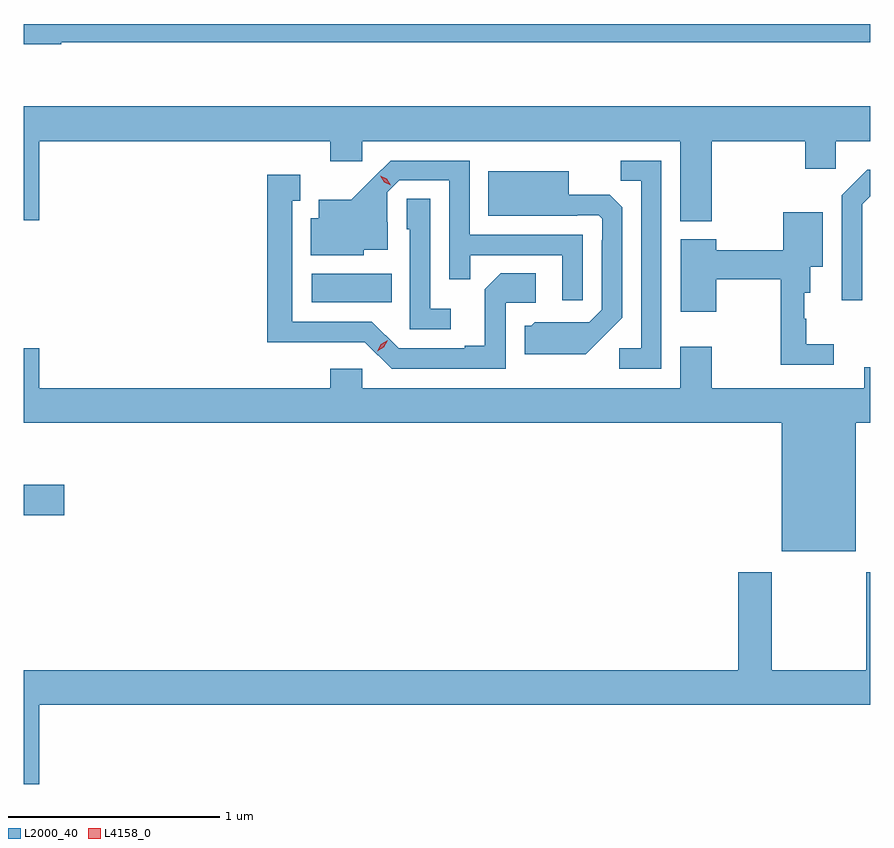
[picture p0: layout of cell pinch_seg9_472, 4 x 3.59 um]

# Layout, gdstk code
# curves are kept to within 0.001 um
import gdstk
lib = gdstk.Library(unit=1e-6, precision=1e-09)
def R(c, l, rs):  # rectangles x0, y0, x1, y1
    for r in rs: c.add(gdstk.rectangle(r[:2], r[2:], *l))
def P(c, l, *ps):  # polygons
    for p in ps: c.add(gdstk.Polygon(p, *l))
L2000_40 = (2000, 40)
L4158_0 = (4158, 0)

pinch_seg9_472 = lib.new_cell('pinch_seg9_472')
R(pinch_seg9_472, L2000_40, [(296.966,1194.653,297.157,1194.795), (298.326,1195.658,298.706,1195.792)])
P(pinch_seg9_472, L2000_40, [(297.144,1196.886),(300.966,1196.886),(300.966,1196.973),(296.966,1196.973),(296.966,1196.878),(297.144,1196.878)],
  [(296.966,1196.046),(297.04,1196.046),(297.04,1196.42),(298.415,1196.42),(298.415,1196.325),(298.566,1196.325),(298.566,1196.42),(300.068,1196.42),(300.068,1196.042),(300.216,1196.042),(300.216,1196.42),(300.658,1196.42),(300.658,1196.289),(300.804,1196.289),(300.804,1196.42),(300.966,1196.42),(300.966,1196.584),(296.966,1196.584)],
  [(299.607,1195.977),(299.073,1195.977),(299.073,1196.328),(298.7,1196.328),(298.513,1196.143),(298.361,1196.143),(298.361,1196.056),(298.322,1196.056),(298.322,1195.88),(298.572,1195.88),(298.572,1195.907),(298.687,1195.907),(298.687,1196.036),(298.683,1196.036),(298.683,1196.178),(298.74,1196.235),(298.977,1196.235),(298.977,1195.768),(299.075,1195.768),(299.075,1195.881),(299.511,1195.881),(299.511,1195.668),(299.607,1195.668)],
  [(299.979,1196.328),(299.788,1196.328),(299.788,1196.233),(299.883,1196.233),(299.883,1195.44),(299.781,1195.44),(299.781,1195.344),(299.979,1195.344)],
  [(300.927,1196.121),(300.966,1196.16),(300.966,1196.284),(300.952,1196.284),(300.831,1196.163),(300.831,1195.668),(300.927,1195.668)],
  [(299.701,1195.493),(299.793,1195.586),(299.793,1196.108),(299.734,1196.167),(299.542,1196.167),(299.542,1196.278),(299.162,1196.278),(299.162,1196.066),(299.582,1196.066),(299.582,1196.07),(299.682,1196.07),(299.7,1196.052),(299.7,1195.952),(299.697,1195.952),(299.697,1195.623),(299.637,1195.563),(299.38,1195.564),(299.364,1195.548),(299.333,1195.548),(299.333,1195.412),(299.621,1195.412)],
  [(299.244,1195.656),(299.386,1195.656),(299.386,1195.796),(299.221,1195.796),(299.145,1195.72),(299.145,1195.453),(299.051,1195.453),(299.051,1195.44),(298.737,1195.44),(298.611,1195.566),(298.234,1195.566),(298.234,1196.139),(298.273,1196.139),(298.273,1196.26),(298.116,1196.26),(298.116,1195.469),(298.578,1195.47),(298.704,1195.344),(299.244,1195.344)],
  [(298.984,1195.627),(298.887,1195.627),(298.887,1196.147),(298.776,1196.147),(298.776,1196.004),(298.791,1196.004),(298.791,1195.53),(298.984,1195.53)],
  [(300.793,1195.461),(300.664,1195.461),(300.664,1195.581),(300.653,1195.581),(300.653,1195.703),(300.682,1195.703),(300.682,1195.826),(300.742,1195.826),(300.742,1196.083),(300.554,1196.083),(300.554,1195.904),(300.238,1195.904),(300.238,1195.957),(300.071,1195.957),(300.071,1195.614),(300.238,1195.614),(300.238,1195.768),(300.543,1195.768),(300.543,1195.362),(300.793,1195.362)],
  [(300.898,1195.088),(300.966,1195.088),(300.966,1195.35),(300.938,1195.35),(300.938,1195.252),(300.216,1195.252),(300.216,1195.447),(300.068,1195.447),(300.068,1195.252),(298.566,1195.252),(298.566,1195.345),(298.415,1195.345),(298.415,1195.252),(297.04,1195.252),(297.04,1195.441),(296.966,1195.441),(296.966,1195.088),(300.548,1195.088),(300.548,1194.482),(300.898,1194.482)],
  [(297.04,1193.756),(300.966,1193.756),(300.966,1194.382),(300.946,1194.382),(300.946,1193.92),(300.501,1193.92),(300.501,1194.382),(300.341,1194.382),(300.341,1193.92),(296.966,1193.92),(296.966,1193.382),(297.04,1193.382)])
P(pinch_seg9_472, L4158_0, [(298.7,1196.211),(298.669,1196.226),(298.651,1196.255),(298.651,1196.256),(298.651,1196.256),(298.682,1196.241),(298.7,1196.212),(298.7,1196.211)],
  [(298.636,1195.427),(298.636,1195.427),(298.653,1195.46),(298.685,1195.479),(298.685,1195.479),(298.685,1195.478),(298.668,1195.446),(298.636,1195.427)])

lib.write_gds('pinch_seg9_472.gds')
